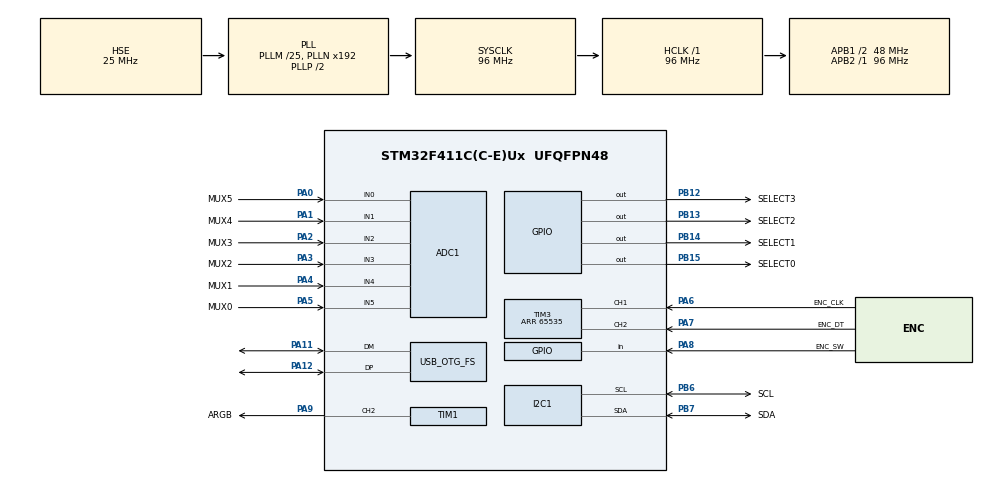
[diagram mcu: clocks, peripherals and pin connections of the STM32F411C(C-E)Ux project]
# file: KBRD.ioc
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ADC1.Channel-14\#ChannelRegularConversion=ADC_CHANNEL_0
ADC1.ContinuousConvMode=ENABLE
ADC1.EnableAnalogWatchDog=false
ADC1.InjNumberOfConversion=0
ADC1.NbrOfConversion=1
ADC1.NbrOfConversionFlag=1
ADC1.Rank-14\#ChannelRegularConversion=1
ADC1.SamplingTime-14\#ChannelRegularConversion=ADC_SAMPLETIME_3CYCLES
ADC1.ScanConvMode=ENABLE
ADC1.master=1
Dma.ADC1.1.Direction=DMA_PERIPH_TO_MEMORY
Dma.ADC1.1.FIFOMode=DMA_FIFOMODE_ENABLE
Dma.ADC1.1.FIFOThreshold=DMA_FIFO_THRESHOLD_FULL
Dma.ADC1.1.Instance=DMA2_Stream4
Dma.ADC1.1.MemBurst=DMA_MBURST_SINGLE
Dma.ADC1.1.MemDataAlignment=DMA_MDATAALIGN_HALFWORD
Dma.ADC1.1.MemInc=DMA_MINC_ENABLE
Dma.ADC1.1.Mode=DMA_CIRCULAR
Dma.ADC1.1.PeriphBurst=DMA_PBURST_SINGLE
Dma.ADC1.1.PeriphDataAlignment=DMA_PDATAALIGN_HALFWORD
Dma.ADC1.1.PeriphInc=DMA_PINC_DISABLE
Dma.ADC1.1.Priority=DMA_PRIORITY_LOW
Dma.I2C1_TX.0.Direction=DMA_MEMORY_TO_PERIPH
Dma.I2C1_TX.0.FIFOMode=DMA_FIFOMODE_DISABLE
Dma.I2C1_TX.0.Instance=DMA1_Stream6
Dma.I2C1_TX.0.MemDataAlignment=DMA_MDATAALIGN_BYTE
Dma.I2C1_TX.0.MemInc=DMA_MINC_ENABLE
Dma.I2C1_TX.0.Mode=DMA_NORMAL
Dma.I2C1_TX.0.PeriphDataAlignment=DMA_PDATAALIGN_BYTE
Dma.I2C1_TX.0.PeriphInc=DMA_PINC_DISABLE
Dma.I2C1_TX.0.Priority=DMA_PRIORITY_VERY_HIGH
Dma.Request0=I2C1_TX
Dma.Request1=ADC1
Dma.Request2=TIM1_CH2
Dma.TIM1_CH2.2.Direction=DMA_MEMORY_TO_PERIPH
Dma.TIM1_CH2.2.FIFOMode=DMA_FIFOMODE_DISABLE
Dma.TIM1_CH2.2.Instance=DMA2_Stream2
Dma.TIM1_CH2.2.MemDataAlignment=DMA_MDATAALIGN_WORD
Dma.TIM1_CH2.2.MemInc=DMA_MINC_ENABLE
Dma.TIM1_CH2.2.Mode=DMA_CIRCULAR
Dma.TIM1_CH2.2.PeriphDataAlignment=DMA_PDATAALIGN_WORD
Dma.TIM1_CH2.2.PeriphInc=DMA_PINC_DISABLE
Dma.TIM1_CH2.2.Priority=DMA_PRIORITY_VERY_HIGH
I2C1.I2C_Mode=I2C_Fast
Mcu.Family=STM32F4
Mcu.Name=STM32F411C(C-E)Ux
Mcu.Package=UFQFPN48
NVIC.DMA1_Stream6_IRQn=true\:0\:0\:false\:false\:true\:false\:true\:true
NVIC.DMA2_Stream2_IRQn=true\:0\:0\:false\:false\:true\:false\:true\:true
NVIC.DMA2_Stream4_IRQn=true\:0\:0\:false\:false\:true\:false\:true\:true
NVIC.I2C1_EV_IRQn=true\:0\:0\:false\:false\:true\:true\:true\:true
NVIC.OTG_FS_IRQn=true\:0\:0\:false\:false\:true\:false\:true\:true
NVIC.PriorityGroup=NVIC_PRIORITYGROUP_4
PA0-WKUP.GPIO_Label=MUX5
PA0-WKUP.Signal=ADCx_IN0
PA1.GPIO_Label=MUX4
PA1.Signal=ADCx_IN1
PA11.Mode=Device_Only
PA11.Signal=USB_OTG_FS_DM
PA12.Mode=Device_Only
PA12.Signal=USB_OTG_FS_DP
PA13.Mode=Serial_Wire
PA13.Signal=SYS_JTMS-SWDIO
PA14.Mode=Serial_Wire
PA14.Signal=SYS_JTCK-SWCLK
PA2.GPIO_Label=MUX3
PA2.Signal=ADCx_IN2
PA3.GPIO_Label=MUX2
PA3.Signal=ADCx_IN3
PA4.GPIO_Label=MUX1
PA4.Signal=ADCx_IN4
PA5.GPIO_Label=MUX0
PA5.Signal=ADCx_IN5
PA6.GPIO_Label=ENC_CLK
PA6.GPIO_ModeDefaultPP=GPIO_MODE_AF_OD
PA6.GPIO_PuPd=GPIO_NOPULL
PA6.GPIO_Speed=GPIO_SPEED_FREQ_VERY_HIGH
PA6.Signal=S_TIM3_CH1
PA7.GPIO_Label=ENC_DT
PA7.GPIO_ModeDefaultPP=GPIO_MODE_AF_OD
PA7.GPIO_PuPd=GPIO_NOPULL
PA7.GPIO_Speed=GPIO_SPEED_FREQ_VERY_HIGH
PA7.Signal=S_TIM3_CH2
PA8.GPIO_Label=ENC_SW
PA8.GPIO_PuPd=GPIO_PULLDOWN
PA8.Signal=GPIO_Input
PA9.GPIO_Label=ARGB
PA9.GPIO_ModeDefaultPP=GPIO_MODE_AF_OD
PA9.GPIO_Speed=GPIO_SPEED_FREQ_VERY_HIGH
PA9.Signal=S_TIM1_CH2
PB12.GPIO_Label=SELECT3
PB12.GPIO_ModeDefaultOutputPP=GPIO_MODE_OUTPUT_PP
PB12.GPIO_PuPd=GPIO_NOPULL
PB12.GPIO_Speed=GPIO_SPEED_FREQ_LOW
PB12.PinState=GPIO_PIN_RESET
PB12.Signal=GPIO_Output
PB13.GPIO_Label=SELECT2
PB13.GPIO_ModeDefaultOutputPP=GPIO_MODE_OUTPUT_PP
PB13.GPIO_PuPd=GPIO_NOPULL
PB13.GPIO_Speed=GPIO_SPEED_FREQ_LOW
PB13.PinState=GPIO_PIN_RESET
PB13.Signal=GPIO_Output
PB14.GPIO_Label=SELECT1
PB14.GPIO_ModeDefaultOutputPP=GPIO_MODE_OUTPUT_PP
PB14.GPIO_PuPd=GPIO_NOPULL
PB14.GPIO_Speed=GPIO_SPEED_FREQ_LOW
PB14.PinState=GPIO_PIN_RESET
PB14.Signal=GPIO_Output
PB15.GPIO_Label=SELECT0
PB15.GPIO_ModeDefaultOutputPP=GPIO_MODE_OUTPUT_PP
PB15.GPIO_PuPd=GPIO_NOPULL
PB15.GPIO_Speed=GPIO_SPEED_FREQ_LOW
PB15.PinState=GPIO_PIN_RESET
PB15.Signal=GPIO_Output
PB6.GPIO_Label=SCL
PB6.Mode=I2C
PB6.Signal=I2C1_SCL
PB7.GPIO_Label=SDA
PB7.Mode=I2C
PB7.Signal=I2C1_SDA
PH0\ -\ OSC_IN.Mode=HSE-External-Oscillator
PH0\ -\ OSC_IN.Signal=RCC_OSC_IN
PH1\ -\ OSC_OUT.Mode=HSE-External-Oscillator
PH1\ -\ OSC_OUT.Signal=RCC_OSC_OUT
ProjectManager.HeapSize=0x200
ProjectManager.StackSize=0x400
ProjectManager.TargetToolchain=STM32CubeIDE
RCC.48MHZClocksFreq_Value=48000000
RCC.AHBFreq_Value=96000000
RCC.APB1CLKDivider=RCC_HCLK_DIV2
RCC.APB1Freq_Value=48000000
RCC.APB1TimFreq_Value=96000000
RCC.APB2Freq_Value=96000000
RCC.APB2TimFreq_Value=96000000
RCC.CortexFreq_Value=96000000
RCC.HCLKFreq_Value=96000000
RCC.HSE_VALUE=25000000
RCC.HSI_VALUE=16000000
RCC.LSE_VALUE=32768
RCC.PLLM=25
RCC.SYSCLKFreq_VALUE=96000000
RCC.SYSCLKSource=RCC_SYSCLKSOURCE_PLLCLK
RCC.VCOOutputFreq_Value=192000000
SH.ADCx_IN0.0=ADC1_IN0,IN0
SH.ADCx_IN1.0=ADC1_IN1,IN1
SH.ADCx_IN2.0=ADC1_IN2,IN2
SH.ADCx_IN3.0=ADC1_IN3,IN3
SH.ADCx_IN4.0=ADC1_IN4,IN4
SH.ADCx_IN5.0=ADC1_IN5,IN5
SH.S_TIM1_CH2.0=TIM1_CH2,PWM Generation2 CH2
SH.S_TIM3_CH1.0=TIM3_CH1,Encoder_Interface
SH.S_TIM3_CH2.0=TIM3_CH2,Encoder_Interface
TIM1.Channel-PWM\ Generation2\ CH2=TIM_CHANNEL_2
TIM1.Period=90-1
TIM3.CounterMode=TIM_COUNTERMODE_UP
TIM3.EncoderMode=TIM_ENCODERMODE_TI12
TIM3.IC1Filter=5
TIM3.IC1Polarity=TIM_ICPOLARITY_FALLING
TIM3.IC2Filter=5
TIM3.IC2Polarity=TIM_ICPOLARITY_FALLING
TIM3.Period=65535
USB_DEVICE.CLASS_NAME_FS=HID
USB_DEVICE.VirtualMode=Hid
USB_DEVICE.VirtualModeFS=Hid_FS
USB_OTG_FS.VirtualMode=Device_Only
VP_TIM1_VS_ClockSourceINT.Mode=Internal
VP_USB_DEVICE_VS_USB_DEVICE_HID_FS.Mode=HID_FS
board=custom

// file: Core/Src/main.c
/* USER CODE BEGIN Header */
/**
  ******************************************************************************
  * @file           : main.c
  * @brief          : Main program body
  ******************************************************************************
  * @attention
  *
  * Copyright (c) 2024 Astrolate.
  * All rights reserved.
  *
  * Astrolate Starling Keyboard
  *
  * This software is "licensed" under CC BY-NC 4.0
  *
  ******************************************************************************
						⣿⣿⣿⣿⣿⣿⣿⣿⣿⣿⣿⣿⣿⣿⣿⣿⣿⣿⣿⣿⣿⣿⣿⣿⣿⣿⣿
						⣿⣿⣿⣿⠟⠛⠛⠻⣿⣿⣿⣿⣿⣿⣿⣿⣿⣿⡟⢋⣩⣉⢻⣿⣿⣿⣿
						⣿⣿⣿⣿⠀⣿⣶⣕⣈⠹⠿⠿⠿⠿⠟⠛⣛⢋⣰⠣⣿⣷⠀⣿⣿⣿⣿
						⣿⣿⣿⣿⡀⣿⣿⣿⣧⢻⣿⣶⣷⣿⣿⣿⣿⣿⣿⠿⠶ ⠀⣿⣿⣿⣿
						⣿⣿⣿⣿⣷⠘⣿⣿⣿⢸⣿⣿⣋⣀⣈⣻⣿⣿⣷⣤⣤⣿ ⢿⣿⣿⣿
						⣿⣿⣿⣿⣿⣆⢩⣰⣫⣾⣿⣿⣿⣿⡟⠿⠿⠦⠀⠸⠿⣻⣿⡄⢻⣿⣿
						⣿⣿⣿⣿⣿⣿⡄⢻⣿⣿⣿⣿⣿⣿⣿⣿⣶⣶⣾⣿⣿⣿⣿ ⣼⣿⣿
						⣿⣿⣿⣿⣿⣿⣿⡄⢿⣿⣿⣿⣿⣿⣿⣿⣿⣿⣿⣿⣿⣿⡟⣰⣿⣿⣿
						⣿⣿⣿⣿⣿⣿⣿⠇⣼⣿⣿⣿⣿⣿⣿⣿⣿⣿⣿⣿⣿⣿⢀⣿⣿⣿⣿
						⣿⣿⣿⣿⣿⣿⠋⢰⣿⣿⣿⣿⣿⣿⣿⣿⣿⣿⣿⣿⣿⣿⢸⣿⣿⣿⣿
						⣿⣿⣿⣿⣿⠟⣰⣿⣿⣿⣿⣿⣿⣿⣿⣿⣿⣿⣿⣿⣿⣿⠀⣿⣿⣿⣿
						⣿⣿⣿⣿⠋⣴⣿⣿⣿⣿⣿⣿⣿⣿⣿⣿⣿⣿⣿⣿⣿⣿⡄⣿⣿⣿⣿
						⣿⣿⣿⠋⣼⣿⣿⣿⣿⣿⣿⣿⣿⣿⣿⣿⣿⣿⣿⣿⣿⣿⡇⢸⣿⣿⣿
						⣿⣿ ⣼⣿⣿⣿⣿⣿⣿⣿⣿⣿⣿⣿⣿⣿⣿⣿⣿⣿⣿⣿⢸⣿⣿⣿
  ******************************************************************************
**/
/* USER CODE END Header */
#include "main.h"
#include "usb_device.h"

/* USER CODE BEGIN Includes */
#include "ssd1306.h"
#include "ARGB.h"
/* USER CODE END Includes */

/* USER CODE BEGIN PD */
//#define BitSet(byte,nbit)   ((byte) |=  (1<<(nbit)))
//#define BitClear(byte,nbit) ((byte) &= ~(1<<(nbit)))
/* USER CODE END PD */

ADC_HandleTypeDef hadc1;
DMA_HandleTypeDef hdma_adc1;

I2C_HandleTypeDef hi2c1;
DMA_HandleTypeDef hdma_i2c1_tx;

TIM_HandleTypeDef htim1;
TIM_HandleTypeDef htim3;
DMA_HandleTypeDef hdma_tim1_ch2;

/* USER CODE BEGIN PV */
extern USBD_HandleTypeDef hUsbDeviceFS;
/* USER CODE END PV */

void SystemClock_Config(void);
static void MX_GPIO_Init(void);
static void MX_DMA_Init(void);
static void MX_ADC1_Init(void);
static void MX_I2C1_Init(void);
static void MX_TIM1_Init(void);
static void MX_TIM3_Init(void);

/* USER CODE BEGIN 0 */
const uint8_t StartLogo[] = {								// Start-up bitmap logo
	0x00, 0x00, 0x00, 0x00, 0x00, 0x00, 0x00, 0x00, 0x00, 0x00, 0x00, 0x00, 0x00, 0x00, 0x00, 0x00,
	0x00, 0x00, 0x60, 0x00, 0x00, 0x00, 0x00, 0x00, 0x00, 0x00, 0x00, 0x00, 0x00, 0x00, 0x00, 0x00,
	0x00, 0x00, 0x60, 0x00, 0x00, 0x00, 0x00, 0x00, 0x00, 0x00, 0x00, 0x00, 0x00, 0x00, 0x00, 0x00,
	0x00, 0x00, 0xD0, 0x00, 0x00, 0x00, 0x00, 0x00, 0x00, 0x00, 0x00, 0x00, 0x00, 0x00, 0x00, 0x00,
	0x00, 0x00, 0xD8, 0x00, 0x00, 0x00, 0x00, 0x00, 0x00, 0x00, 0x00, 0x00, 0x00, 0x00, 0x00, 0x00,
	0x00, 0x01, 0x49, 0x00, 0x00, 0x00, 0x00, 0x00, 0x00, 0x00, 0x00, 0x00, 0x00, 0x00, 0x00, 0x00,
	0x00, 0x01, 0x4F, 0x80, 0x00, 0x00, 0x00, 0x00, 0x00, 0x00, 0x00, 0x00, 0x00, 0x00, 0x00, 0x00,
	0x03, 0xFE, 0x47, 0x80, 0x00, 0x00, 0x00, 0x00, 0x00, 0x00, 0x00, 0x00, 0x00, 0x00, 0x00, 0x00,
	0x01, 0xC4, 0x07, 0xC0, 0x00, 0x00, 0x00, 0x00, 0x00, 0x00, 0x00, 0x00, 0x00, 0x00, 0x00, 0x00,
	0x01, 0x1C, 0x83, 0x7F, 0xC0, 0x00, 0x00, 0x00, 0x00, 0x00, 0x00, 0x00, 0x00, 0x00, 0x00, 0x00,
	0x00, 0x1E, 0x8F, 0xC1, 0x80, 0x00, 0x00, 0x00, 0x00, 0x00, 0x00, 0x00, 0x00, 0x00, 0x00, 0x00,
	0x00, 0xEF, 0xE3, 0x03, 0x80, 0x00, 0x40, 0x00, 0x08, 0x00, 0x00, 0x30, 0x00, 0x30, 0x00, 0x00,
	0x03, 0xE0, 0xBA, 0x87, 0x00, 0x00, 0xE0, 0x00, 0x08, 0x00, 0x00, 0x30, 0x00, 0x30, 0x00, 0x00,
	0x03, 0x80, 0x86, 0x8A, 0x00, 0x01, 0xB0, 0x00, 0x1E, 0x18, 0xFE, 0x30, 0x3E, 0x7C, 0x7E, 0x00,
	0x01, 0x60, 0x0F, 0xD4, 0x00, 0x01, 0x10, 0x7C, 0x1E, 0x39, 0xFF, 0x30, 0x03, 0x7D, 0xFF, 0x80,
	0x00, 0x99, 0x32, 0xE4, 0x00, 0x02, 0x08, 0x40, 0x08, 0x63, 0x83, 0xB3, 0xFF, 0x31, 0x01, 0x80,
	0x00, 0xC7, 0xC0, 0x7C, 0x00, 0x06, 0x0C, 0x7F, 0x88, 0x63, 0x01, 0xB7, 0xFF, 0x31, 0xFF, 0x80,
	0x00, 0xE3, 0x84, 0xBC, 0x00, 0x07, 0xFC, 0x1F, 0xC8, 0x63, 0x01, 0xB6, 0x03, 0x31, 0xFF, 0x80,
	0x01, 0x2D, 0x65, 0x16, 0x00, 0x0C, 0x06, 0x00, 0x48, 0x63, 0x83, 0xB6, 0x03, 0x31, 0x00, 0x00,
	0x02, 0x31, 0x1E, 0x0B, 0x00, 0x18, 0x03, 0x7F, 0xC8, 0x61, 0xFF, 0x37, 0xFF, 0x31, 0xF0, 0x00,
	0x02, 0x41, 0x0E, 0x0E, 0x00, 0x10, 0x01, 0x7F, 0x08, 0x60, 0xFE, 0x33, 0xFE, 0x30, 0xF0, 0x00,
	0x05, 0x08, 0x1D, 0x84, 0x00, 0x00, 0x00, 0x00, 0x00, 0x00, 0x00, 0x00, 0x00, 0x00, 0x00, 0x00,
	0x0E, 0x0A, 0x34, 0x64, 0x00, 0x00, 0x00, 0x00, 0x00, 0x00, 0x00, 0x00, 0x00, 0x00, 0x00, 0x00,
	0x07, 0xFA, 0x40, 0x1E, 0x00, 0x00, 0x00, 0x00, 0x00, 0x00, 0x00, 0x00, 0x00, 0x00, 0x00, 0x00,
	0x00, 0x06, 0x9F, 0xFE, 0x00, 0x00, 0x00, 0x00, 0x00, 0x00, 0x00, 0x00, 0x00, 0x00, 0x00, 0x00,
	0x00, 0x07, 0xE9, 0x00, 0x00, 0x00, 0x00, 0x00, 0x00, 0x00, 0x00, 0x00, 0x00, 0x00, 0x00, 0x00,
	0x00, 0x03, 0x8A, 0x00, 0x00, 0x00, 0x00, 0x00, 0x00, 0x00, 0x00, 0x00, 0x00, 0x00, 0x00, 0x00,
	0x00, 0x00, 0x4C, 0x00, 0x00, 0x00, 0x00, 0x00, 0x00, 0x00, 0x00, 0x00, 0x00, 0x00, 0x00, 0x00,
	0x00, 0x00, 0x2C, 0x00, 0x00, 0x00, 0x00, 0x00, 0x00, 0x00, 0x00, 0x00, 0x00, 0x00, 0x00, 0x00,
	0x00, 0x00, 0x18, 0x00, 0x00, 0x00, 0x00, 0x00, 0x00, 0x00, 0x00, 0x00, 0x00, 0x00, 0x00, 0x00,
	0x00, 0x00, 0x10, 0x00, 0x00, 0x00, 0x00, 0x00, 0x00, 0x00, 0x00, 0x00, 0x00, 0x00, 0x00, 0x00,
	0x00, 0x00, 0x00, 0x00, 0x00, 0x00, 0x00, 0x00, 0x00, 0x00, 0x00, 0x00, 0x00, 0x00, 0x00, 0x00,
};

uint8_t EncRotRig, EncRotLft, FnBtnState;					// Encoder processing values
uint8_t keycodes[10] = {};									// Array for key press report
uint8_t MediaReport[2] = {};								// Array for media report
uint8_t DisplayText[8];										// Display value
uint8_t Red, Green, Blue, LedBrightness, ArgbMode, SwitchMode;
// Menu support values
uint8_t MenuOpenFlag, MenuDeniedFlag, RedMenu, GreenMenu, BlueMenu, BrMenu, SubMenu, SubMenuDeniedFlag;
int8_t MenuEncCounter, SubMenuEncCounter;

const uint8_t HEX_Map[97] =									// Array of keys according to schematic
{
//MUX0
	0x29,	// ESC
	0x3A,	// F1
	0x3B,	// F2
	0x3C,	// F3
	0x3D,	// F4
	0x3E,	// F5
	0x3F,	// F6
	0x40,	// F7
	0x41,	// F8
	0x42,	// F9
	0x43,	// F10
	0x44, 	// F11
	0x45,	// F12
	0x46,	// PrtScr
	0x4C,	// Del
	0x55,	// Keypad *
//MUX1
	0x35,	// ~
    0x1E,   // 1
    0x1F,   // 2
    0x20,   // 3
    0x21,   // 4
    0x22,   // 5
    0x23,   // 6
    0x24,   // 7
    0x25,   // 8
    0x26,   // 9
    0x27,   // 0
	0x2D,	// - and _
	0x2E,	// = and +
    0x2A,   // Backspace
	0x53,	// Num Lock
	0x54,	// Keypad /
//MUX2
    0x2B,   // Tab
	0x14,   // Q
	0x1A,   // W
	0x08,   // E
	0x15,   // R
	0x17,   // T
	0x1C,   // Y
	0x18,   // U
	0x0C,   // I
    0x12,   // O
    0x13,   // P
	0x2F,	// [ and {
	0x30,	// ] and }
	0x31,   // \ and |
	0x5F,	// Keypad 7
	0x60,	// Keypad 8
//MUX3
	0x39,	// Caps Lock
    0x04,   // A
    0x16,   // S
    0x07,   // D
    0x09,   // F
    0x0A,   // G
    0x0B,   // H
    0x0D,   // J
    0x0E,   // K
    0x0F,   // L
	0x33, 	// ; and :
	0x34,	// ' and "
    0x28,   // Enter
	0x5C,	// Keypad 4
	0x5D,	// Keypad 5
	0x5E,	// Keypad 6
//MUX4
	0x02,	// Left Shift
    0x1D,   // Z
    0x1B,   // X
    0x06,   // C
    0x19,   // V
    0x05,   // B
    0x11,   // N
    0x10,   // M
	0x36,	// , and <
	0x37,	// . and >
	0x38,	// / and ?
	0x20,	// Right Shift
	0x52,	// Arrow Up
	0x59,	// Keypad 1
	0x5A,	// Keypad 2
	0x5B,	// Keypad 3
//MUX5
	0x01,	// Left Ctrl
	0x08,	// Left Win(Super)
	0x04,	// Left Alt
	0x2C,	// Spacebar
	0x40,	// Right Alt
	0x00,	// Fn - Undefined(Released)
	0x10,	// Right Ctrl
	0x50,	// Arrow Left
	0x51,	// Arrow Down
	0x4F,	// Arrow Right
	0x62,	// Keypad 0
	0x63,	// Keypad Del
	0x58,	// Keypad Enter
	0x61,	// Keypad 9
	0x57,	// Keypad +
	0x56	// Keypad -
};

/*
 * Lock keys indication pre-init
*/
volatile struct HID_Leds_t HID_Leds;

#define L_NUMLOCK          0
#define L_CAPSLOCK         1
#define L_SCROLLLOCK       2

struct HID_Leds_t {
uint8_t NUMLOCK;
uint8_t CAPSLOCK;
uint8_t SCROLLLOCK;
};

void HID_LedsInit(void){
	HID_Leds.NUMLOCK = 0;
	HID_Leds.CAPSLOCK = 0;
	HID_Leds.SCROLLLOCK = 0;
}

/*
 * Simple FLASH read
*/
uint8_t READ_FLASH(uint32_t address) {
    return (*(__IO uint8_t*)address);
}

/*
 * FLASH memory write func for 1 sector
*/
void WRITE_FLASH(uint32_t address, uint8_t data) {

    uint8_t OldData[20];
    for (uint32_t addr = 0x0807FFF0, i = 0; addr <= 0x0807FFFF; addr++, i++) {
    	OldData[i] = READ_FLASH(addr);
	}

	HAL_FLASH_Unlock();                                                             		// Unlock Flash

    FLASH_EraseInitTypeDef eraseInitStruct;
    eraseInitStruct.TypeErase = FLASH_TYPEERASE_SECTORS;
    eraseInitStruct.VoltageRange = FLASH_VOLTAGE_RANGE_3;
    eraseInitStruct.Sector = FLASH_SECTOR_7;
    eraseInitStruct.NbSectors = 1;

    if (HAL_FLASHEx_Erase(&eraseInitStruct, 0) != HAL_OK) {
    	//HAL_FLASH_Lock();
        Error_Handler();
        //return;
    }

    for (uint32_t addr = 0x0807FFF0, i = 0; addr <= 0x0807FFFF; addr++, i++) {
    	if (addr == address){
            if (HAL_FLASH_Program(FLASH_TYPEPROGRAM_WORD, addr, data) != HAL_OK) {
                Error_Handler();
            }
    	}
    	if (HAL_FLASH_Program(FLASH_TYPEPROGRAM_WORD, addr, OldData[i]) != HAL_OK) {
        	//HAL_FLASH_Lock();
            Error_Handler();
            //return;
        }
	}
    HAL_FLASH_Lock();

/*
    HAL_FLASH_Unlock();																// Unlock Flash

    FLASH_EraseInitTypeDef eraseInitStruct;
    eraseInitStruct.TypeErase = FLASH_TYPEERASE_SECTORS;
    eraseInitStruct.VoltageRange = FLASH_VOLTAGE_RANGE_3;
    eraseInitStruct.Sector = FLASH_SECTOR_7; 									    // Get sector via address
    eraseInitStruct.NbSectors = 1; 													// 1 its enough for projects needs

    uint32_t sectorError = 0;
    if (HAL_FLASHEx_Erase(&eraseInitStruct, &sectorError) != HAL_OK) {				// Delete sector where address located(No sense here)
    	Error_Handler();
    }

    if (HAL_FLASH_Program(FLASH_TYPEPROGRAM_BYTE, address, data) != HAL_OK) {		// Write new value in FLASH cell
    	Error_Handler();
    }
    HAL_FLASH_Lock();																// Lock FLASH for sure
*/
}

/*
 * Selecting input pin of MUX output for ADC processing
*/
void ADC_SELECTOR(uint8_t Channel){
	ADC_ChannelConfTypeDef cConfig = {0};
	cConfig.Channel = Channel;
	cConfig.Rank = 1;
	cConfig.SamplingTime = ADC_SAMPLETIME_3CYCLES;
	if (HAL_ADC_ConfigChannel(&hadc1, &cConfig) != HAL_OK)
	{
		Error_Handler();
	}
}

/*
 * Receiving ADC values
*/
uint32_t ADC_GET_VALUE(void){
	HAL_ADC_Start(&hadc1);
	HAL_ADC_PollForConversion(&hadc1, 1);
	return HAL_ADC_GetValue(&hadc1);
	HAL_ADC_Stop(&hadc1);
}

/*
 * Selecting 0-15 channel of MUX
*/
void SELECT_MUX_CH(uint8_t MUX_CH) {
	HAL_GPIO_WritePin(GPIOB, SELECT0_Pin, (GPIO_PinState)((MUX_CH >> 0) & 0x01));
	HAL_GPIO_WritePin(GPIOB, SELECT1_Pin, (GPIO_PinState)((MUX_CH >> 1) & 0x01));
	HAL_GPIO_WritePin(GPIOB, SELECT2_Pin, (GPIO_PinState)((MUX_CH >> 2) & 0x01));
	HAL_GPIO_WritePin(GPIOB, SELECT3_Pin, (GPIO_PinState)((MUX_CH >> 3) & 0x01));
}

/*
 * Simultaneously keys press processing
 *
 * 0-ID;
 * 1-MODIFIER;
 * 2-RESERVED;
 * 3-8KEYCODE[6]
*/
void KEY_PRESS(uint32_t ADC_Value, uint8_t Key_Identifier, uint8_t IsMod, uint8_t SwMod){
	/*
	 * In progress
	*/
/*
    uint32_t AdcPrev;
    uint16_t adcThreshold = 500;
	if (SwMod == 0) {																	// Rapid trigger

		if (ADC_Value > AdcPrev + adcThreshold) {
			keycodes[0] = 0x01;
			if (IsMod) {
				keycodes[1] ^= Key_Identifier;
			} else {
				for (uint8_t ByteCounter = 3; ByteCounter <= 9; ByteCounter++) {
					if (keycodes[ByteCounter] == 0) {
						keycodes[ByteCounter] = Key_Identifier;
						break;
					}
				}
			}
		}

		else if (ADC_Value < AdcPrev + adcThreshold) {
			for (uint8_t ByteCounter = 1; ByteCounter <= 9; ByteCounter++) {
				if (keycodes[ByteCounter] != 0){
					keycodes[ByteCounter] = 0x00;										// Clear every byte
				}
			}
		}

	}
	else{*/
		//if (ADC_Value <= 1200 || ADC_Value >= 4000) {									// If switch have different magnet polarity also led power changes less dependent
		if (ADC_Value >= 3500){
			keycodes[0] = 0x01;															// ID(1)
			if(IsMod) {																	// If pressed modifier keys
				keycodes[1] ^= Key_Identifier;											// Accumulating Modifiers values in bits for first byte
			}
			else{
				for (uint8_t ByteCounter = 3; ByteCounter <= 9; ByteCounter++) {		// (MAX pressed keys == not enough)
					if (keycodes[ByteCounter] == 0) {
						keycodes[ByteCounter] = Key_Identifier;
						break;
					}
				}
			}
		}
	//}
	//AdcPrev = ADC_Value;
}

/* USER CODE END 0 */

int main(void)
{

  /* MCU Configuration--------------------------------------------------------*/

  /* Reset of all peripherals, Initializes the Flash interface and the Systick. */
  HAL_Init();

  /* Configure the system clock */
  SystemClock_Config();

  /* Initialize all configured peripherals */
  MX_GPIO_Init();
  MX_DMA_Init();
  MX_ADC1_Init();
  MX_I2C1_Init();
  MX_TIM1_Init();
  MX_USB_DEVICE_Init();
  MX_TIM3_Init();
  /* USER CODE BEGIN 2 */
  SSD1306_Init();														// OLED 128*32
  ARGB_Init();															// SK6812
  HAL_TIM_Encoder_Start(&htim3, TIM_CHANNEL_ALL);						// Encoder mode start
  /* USER CODE END 2 */

  /* Infinite loop */
  /* USER CODE BEGIN WHILE */
  //Menu_SetGenericWriteCallback(Generic_Write);
/*
* Starting Up Logo Astrolate
*/
  SSD1306_DrawBitmap(0, 0, StartLogo, 128, 32, SSD1306_COLOR_WHITE);	// Display logo
  SSD1306_UpdateScreen();												// Show image
  HAL_Delay(1000);														// Wait
  SSD1306_Fill(SSD1306_COLOR_BLACK);									// Clear for next info

  ARGB_Clear();															// Pre clearing of ARGB

/*
 * Read data from previous set-up
*/
  Red = READ_FLASH(0x0807FFF0);
  Green = READ_FLASH(0x0807FFF1);
  Blue = READ_FLASH(0x0807FFF2);
  LedBrightness = READ_FLASH(0x0807FFF3);
  ArgbMode = READ_FLASH(0x0807FFF4);
  SwitchMode = READ_FLASH(0x0807FFF5);

  uint16_t PositionLast = (int16_t)__HAL_TIM_GET_COUNTER(&htim3) / 4;
  while (1)
  {
/*
* Encoder Handler Section
*/
	uint32_t Counter = __HAL_TIM_GET_COUNTER(&htim3);
	uint16_t Position = (int16_t)Counter / 4;
	if(Position == PositionLast){										// No change, (reset & screensaver)
		EncRotRig = 0;
		EncRotLft = 0;
	}
	if(Position > PositionLast){										// Counter has increased, diff is positive
		EncRotRig = 1;
	}
	if(PositionLast > Position){										// Counter has decreased, diff is negative
		EncRotLft = 1;
	}
	// Exceptions for logic issue
	if (Position == 0 && PositionLast == 65535) {
		EncRotRig = 1;
		EncRotLft = 0;
	}
	if (PositionLast == 0 && Position == 65535) {
		EncRotRig = 0;
		EncRotLft = 1;
	}
	PositionLast = Position;
/*
* MUXs-ADC Section
*/
	for(uint8_t MUX = 0; MUX < 6; MUX++){																			// Selecting MUX
	  switch(MUX){
		  case(0):																									// MUX_0
			  ADC_SELECTOR(5);
			  for(uint8_t MuxChannel = 0; MuxChannel <16; MuxChannel++){
				  SELECT_MUX_CH(MuxChannel);
				  KEY_PRESS(ADC_GET_VALUE(), HEX_Map[MuxChannel], 0, SwitchMode);
			  }
		  break;
		  case(1):																									// MUX_1
			  ADC_SELECTOR(4);
			  for(uint8_t MuxChannel = 0; MuxChannel <16; MuxChannel++){
				  SELECT_MUX_CH(MuxChannel);
				  KEY_PRESS(ADC_GET_VALUE(), HEX_Map[16 + MuxChannel], 0, SwitchMode);
			  }
		  break;
		  case(2):																									// MUX_2
			  ADC_SELECTOR(3);
			  for(uint8_t MuxChannel = 0; MuxChannel <16; MuxChannel++){
				  SELECT_MUX_CH(MuxChannel);
				  KEY_PRESS(ADC_GET_VALUE(), HEX_Map[32 + MuxChannel], 0, SwitchMode);
			  }
		  break;
		  case(3):																									// MUX_3
			  ADC_SELECTOR(2);
			  for(uint8_t MuxChannel = 0; MuxChannel <16; MuxChannel++){
				  SELECT_MUX_CH(MuxChannel);
				  KEY_PRESS(ADC_GET_VALUE(), HEX_Map[48 + MuxChannel], 0, SwitchMode);
			  }
		  break;
		  case(4):																									// MUX_4
			  ADC_SELECTOR(1);
			  for(uint8_t MuxChannel = 0; MuxChannel <16; MuxChannel++){
				  SELECT_MUX_CH(MuxChannel);
				  if(MuxChannel == 0) KEY_PRESS(ADC_GET_VALUE(), HEX_Map[64 + MuxChannel], 1, SwitchMode);			// Exception for Left Shift
				  else if(MuxChannel == 11) KEY_PRESS(ADC_GET_VALUE(), HEX_Map[64 + MuxChannel], 1, SwitchMode);	// Exception for Right Shift
				  else KEY_PRESS(ADC_GET_VALUE(), HEX_Map[64 + MuxChannel], 0, SwitchMode);
			  }
		  break;
		  case(5):																									// MUX_5
			  ADC_SELECTOR(0);
			  for(uint8_t MuxChannel = 0; MuxChannel <16; MuxChannel++){
				  SELECT_MUX_CH(MuxChannel);
				  if(MuxChannel == 0) KEY_PRESS(ADC_GET_VALUE(), HEX_Map[80 + MuxChannel], 1, SwitchMode);			// Exception for Left Ctrl
				  else if(MuxChannel == 1) KEY_PRESS(ADC_GET_VALUE(), HEX_Map[80 + MuxChannel], 1, SwitchMode);		// Exception for Left Win
				  else if(MuxChannel == 2) KEY_PRESS(ADC_GET_VALUE(), HEX_Map[80 + MuxChannel], 1, SwitchMode);		// Exception for Left Alt
				  else if(MuxChannel == 4) KEY_PRESS(ADC_GET_VALUE(), HEX_Map[80 + MuxChannel], 1, SwitchMode);		// Exception for Right Alt
				  else if(MuxChannel == 5){
					  if(ADC_GET_VALUE() >= 3500) FnBtnState = 1;													// Fn key press
					  /*SSD1306_GotoXY(0, 10);
					  sprintf(DisplayText, "%d", ADC_GET_VALUE());													// temporary info
					  SSD1306_Puts(DisplayText, &Font_7x10, SSD1306_COLOR_WHITE);*/
				  }
				  else if(MuxChannel == 6) KEY_PRESS(ADC_GET_VALUE(), HEX_Map[80 + MuxChannel], 1, SwitchMode);		// Exception for Right Ctrl
				  else KEY_PRESS(ADC_GET_VALUE(), HEX_Map[80 + MuxChannel], 0, SwitchMode);
			  }
		  break;
	  }
	}
/*
 * Send Key Report
*/
	USBD_HID_SendReport(&hUsbDeviceFS, &keycodes, 9);							// Send keys report
	//if (SwitchMode == 1) {
		for (uint8_t ByteCounter = 1; ByteCounter <= 9; ByteCounter++) {
			if (keycodes[ByteCounter] != 0){
				keycodes[ByteCounter] = 0x00;										// Clear every byte
			}
		}
	//}
	//else if(SwitchMode == 0){}

/*
 * Main Menu
*/
	if(HAL_GPIO_ReadPin(GPIOA, GPIO_PIN_8) == GPIO_PIN_RESET && MenuOpenFlag == 0){
		while(HAL_GPIO_ReadPin(GPIOA, GPIO_PIN_8) == GPIO_PIN_RESET);
		MenuOpenFlag = 1;
	}
	if(MenuOpenFlag){
		SSD1306_GotoXY(0, 0);
		SSD1306_Puts("SETTINGS:", &Font_7x10, SSD1306_COLOR_WHITE);

		SSD1306_GotoXY(90, 0);
		SSD1306_Puts("EXIT", &Font_7x10, SSD1306_COLOR_WHITE);
		//---------------------
		SSD1306_GotoXY(0, 10);
		SSD1306_Puts("ARGB:", &Font_7x10, SSD1306_COLOR_WHITE);

		SSD1306_GotoXY(45, 10);
		SSD1306_Puts("Solid", &Font_7x10, SSD1306_COLOR_WHITE);
		SSD1306_GotoXY(90, 10);
		SSD1306_Puts("Efct", &Font_7x10, SSD1306_COLOR_WHITE);
		//---------------------
		SSD1306_GotoXY(0, 20);
		SSD1306_Puts("Btns:", &Font_7x10, SSD1306_COLOR_WHITE);

		SSD1306_GotoXY(45, 20);
		SSD1306_Puts("Norm", &Font_7x10, SSD1306_COLOR_WHITE);

		SSD1306_GotoXY(90, 20);
		SSD1306_Puts("Rapid", &Font_7x10, SSD1306_COLOR_WHITE);
		//---------------------
		SSD1306_DrawLine(0, 9, 128, 9, SSD1306_COLOR_WHITE);
		SSD1306_DrawLine(0, 19, 128, 19, SSD1306_COLOR_WHITE);
		SSD1306_DrawLine(85, 0, 85, 32, SSD1306_COLOR_WHITE);
		SSD1306_DrawLine(40, 9, 40, 32, SSD1306_COLOR_WHITE);

		if(!MenuDeniedFlag){
			if(EncRotRig == 1)MenuEncCounter++;
			if(EncRotLft == 1)MenuEncCounter--;
			if(MenuEncCounter > 4)MenuEncCounter = 0;
			if(MenuEncCounter < 0)MenuEncCounter = 4;
		}
		switch(MenuEncCounter){
		  case(0):
			SSD1306_GotoXY(90, 0);
			SSD1306_Puts("EXIT", &Font_7x10, SSD1306_COLOR_BLACK);

			if(HAL_GPIO_ReadPin(GPIOA, GPIO_PIN_8) == GPIO_PIN_RESET && MenuOpenFlag == 1){
				while(HAL_GPIO_ReadPin(GPIOA, GPIO_PIN_8) == GPIO_PIN_RESET);
				MenuOpenFlag = !MenuOpenFlag;
			}
		  break;
		  case(1):
			SSD1306_GotoXY(45, 10);
			SSD1306_Puts("Solid", &Font_7x10, SSD1306_COLOR_BLACK);

			if(HAL_GPIO_ReadPin(GPIOA, GPIO_PIN_8) == GPIO_PIN_RESET && SubMenu == 0){
				while(HAL_GPIO_ReadPin(GPIOA, GPIO_PIN_8) == GPIO_PIN_RESET);
				SubMenu = 1;
			}
			if(SubMenu){
				MenuDeniedFlag = 1;
				SSD1306_Fill(SSD1306_COLOR_BLACK);

			    SSD1306_GotoXY(8, 0);
				SSD1306_Puts("R", &Font_7x10, SSD1306_COLOR_WHITE);
				sprintf(DisplayText, "%d", Red);
				SSD1306_GotoXY(0, 10);
				SSD1306_Puts(DisplayText, &Font_7x10, SSD1306_COLOR_WHITE);

				SSD1306_GotoXY(32, 0);
				SSD1306_Puts("G", &Font_7x10, SSD1306_COLOR_WHITE);
				sprintf(DisplayText, "%d", Green);
				SSD1306_GotoXY(25, 10);
				SSD1306_Puts(DisplayText, &Font_7x10, SSD1306_COLOR_WHITE);

				SSD1306_GotoXY(64, 0);
				SSD1306_Puts("B", &Font_7x10, SSD1306_COLOR_WHITE);
				sprintf(DisplayText, "%d", Blue);
				SSD1306_GotoXY(56, 10);
				SSD1306_Puts(DisplayText, &Font_7x10, SSD1306_COLOR_WHITE);

				SSD1306_GotoXY(96, 0);
				SSD1306_Puts("BR", &Font_7x10, SSD1306_COLOR_WHITE);
				sprintf(DisplayText, "%d", LedBrightness);
				SSD1306_GotoXY(92, 10);
				SSD1306_Puts(DisplayText, &Font_7x10, SSD1306_COLOR_WHITE);

				SSD1306_GotoXY(90, 20);
				SSD1306_Puts("BACK", &Font_7x10, SSD1306_COLOR_WHITE);
				//---------------------
				SSD1306_DrawLine(0, 9, 128, 9, SSD1306_COLOR_WHITE);
				SSD1306_DrawLine(22, 0, 22, 20, SSD1306_COLOR_WHITE);
				SSD1306_DrawLine(50, 0, 50, 20, SSD1306_COLOR_WHITE);
				SSD1306_DrawLine(85, 0, 85, 20, SSD1306_COLOR_WHITE);

				if(!SubMenuDeniedFlag){
					if(EncRotRig == 1)SubMenuEncCounter++;
					if(EncRotLft == 1)SubMenuEncCounter--;
					if(SubMenuEncCounter > 4)SubMenuEncCounter = 0;
					if(SubMenuEncCounter < 0)SubMenuEncCounter = 4;
				}
				switch(SubMenuEncCounter){
				  case(0):
					sprintf(DisplayText, "%d", Red);
					SSD1306_GotoXY(0, 10);
					SSD1306_Puts(DisplayText, &Font_7x10, SSD1306_COLOR_BLACK);

					if(HAL_GPIO_ReadPin(GPIOA, GPIO_PIN_8) == GPIO_PIN_RESET && RedMenu == 0){
					while(HAL_GPIO_ReadPin(GPIOA, GPIO_PIN_8) == GPIO_PIN_RESET);
						RedMenu = 1;
					}
					if(RedMenu){
						SubMenuDeniedFlag = 1;
						if(EncRotRig == 1)Red++;
						if(EncRotLft == 1)Red--;
						if(HAL_GPIO_ReadPin(GPIOA, GPIO_PIN_8) == GPIO_PIN_RESET && RedMenu == 1){
							while(HAL_GPIO_ReadPin(GPIOA, GPIO_PIN_8) == GPIO_PIN_RESET);
							WRITE_FLASH(0x0807FFF0, Red);
							RedMenu = 0;
							SubMenuDeniedFlag = 0;
						}
					}
				  break;
				  case(1):
						sprintf(DisplayText, "%d", Green);
						SSD1306_GotoXY(25, 10);
						SSD1306_Puts(DisplayText, &Font_7x10, SSD1306_COLOR_BLACK);

					  //uint8_t GreenMenu = 0;
					  if(HAL_GPIO_ReadPin(GPIOA, GPIO_PIN_8) == GPIO_PIN_RESET && GreenMenu == 0){
						while(HAL_GPIO_ReadPin(GPIOA, GPIO_PIN_8) == GPIO_PIN_RESET);
						GreenMenu = 1;
					  }
					  if(GreenMenu){
						SubMenuDeniedFlag = 1;
						if(EncRotRig == 1)Green++;
						if(EncRotLft == 1)Green--;
						if(HAL_GPIO_ReadPin(GPIOA, GPIO_PIN_8) == GPIO_PIN_RESET && GreenMenu == 1){
						  while(HAL_GPIO_ReadPin(GPIOA, GPIO_PIN_8) == GPIO_PIN_RESET);
						  WRITE_FLASH(0x0807FFF1, Green);
						  GreenMenu = 0;
						  SubMenuDeniedFlag = 0;
						}
					  }

				  break;
				  case(2):
						sprintf(DisplayText, "%d", Blue);
						SSD1306_GotoXY(56, 10);
						SSD1306_Puts(DisplayText, &Font_7x10, SSD1306_COLOR_BLACK);

					  if(HAL_GPIO_ReadPin(GPIOA, GPIO_PIN_8) == GPIO_PIN_RESET && BlueMenu == 0){
						while(HAL_GPIO_ReadPin(GPIOA, GPIO_PIN_8) == GPIO_PIN_RESET);
						BlueMenu = 1;
					  }
					  if(BlueMenu){
						SubMenuDeniedFlag = 1;
						if(EncRotRig == 1)Blue++;
						if(EncRotLft == 1)Blue--;
						if(HAL_GPIO_ReadPin(GPIOA, GPIO_PIN_8) == GPIO_PIN_RESET && BlueMenu == 1){
						  while(HAL_GPIO_ReadPin(GPIOA, GPIO_PIN_8) == GPIO_PIN_RESET);
						  WRITE_FLASH(0x0807FFF2, Blue);
						  BlueMenu = 0;
						  SubMenuDeniedFlag = 0;
						}
					  }

				  break;
				  case(3):
						sprintf(DisplayText, "%d", LedBrightness);
						SSD1306_GotoXY(92, 10);
						SSD1306_Puts(DisplayText, &Font_7x10, SSD1306_COLOR_BLACK);

					  if(HAL_GPIO_ReadPin(GPIOA, GPIO_PIN_8) == GPIO_PIN_RESET && BrMenu == 0){
						while(HAL_GPIO_ReadPin(GPIOA, GPIO_PIN_8) == GPIO_PIN_RESET);
						BrMenu = 1;
					  }
					  if(BrMenu){
						SubMenuDeniedFlag = 1;
						if(EncRotRig == 1)LedBrightness++;
						if(EncRotLft == 1)LedBrightness--;
						if(HAL_GPIO_ReadPin(GPIOA, GPIO_PIN_8) == GPIO_PIN_RESET && BrMenu == 1){
						  while(HAL_GPIO_ReadPin(GPIOA, GPIO_PIN_8) == GPIO_PIN_RESET);
						  WRITE_FLASH(0x0807FFF3, LedBrightness);
						  BrMenu = 0;
						  SubMenuDeniedFlag = 0;
						}
					  }
				  break;
				  case(4):
						SSD1306_GotoXY(90, 20);
						SSD1306_Puts("BACK", &Font_7x10, SSD1306_COLOR_BLACK);
						if(HAL_GPIO_ReadPin(GPIOA, GPIO_PIN_8) == GPIO_PIN_RESET && SubMenu == 1){
							while(HAL_GPIO_ReadPin(GPIOA, GPIO_PIN_8) == GPIO_PIN_RESET);
							ArgbMode = 1;
							WRITE_FLASH(0x0807FFF4, ArgbMode);
							SubMenu = !SubMenu;
							MenuDeniedFlag = 0;
						}
				  break;
				}
			}
		  break;
		  case(2):
			SSD1306_GotoXY(90, 10);
			SSD1306_Puts("Efct", &Font_7x10, SSD1306_COLOR_BLACK);
			if(HAL_GPIO_ReadPin(GPIOA, GPIO_PIN_8) == GPIO_PIN_RESET){
				while(HAL_GPIO_ReadPin(GPIOA, GPIO_PIN_8) == GPIO_PIN_RESET);
				ArgbMode = 0;
				WRITE_FLASH(0x0807FFF4, ArgbMode);
			}
		  break;
		  case(3):
			SSD1306_GotoXY(45, 20);
			SSD1306_Puts("Norm", &Font_7x10, SSD1306_COLOR_BLACK);
			if(HAL_GPIO_ReadPin(GPIOA, GPIO_PIN_8) == GPIO_PIN_RESET){
				while(HAL_GPIO_ReadPin(GPIOA, GPIO_PIN_8) == GPIO_PIN_RESET);
				SwitchMode = 1;
				WRITE_FLASH(0x0807FFF5, SwitchMode);
			}
		  break;
		  case(4):
			SSD1306_GotoXY(90, 20);
			SSD1306_Puts("Rapid", &Font_7x10, SSD1306_COLOR_BLACK);
			if(HAL_GPIO_ReadPin(GPIOA, GPIO_PIN_8) == GPIO_PIN_RESET){
				while(HAL_GPIO_ReadPin(GPIOA, GPIO_PIN_8) == GPIO_PIN_RESET);
				SwitchMode = 0;
				WRITE_FLASH(0x0807FFF5, SwitchMode);
			}
		  break;
		}
	}
/*
 * Main Screen Data
*/
	else{
/*
 * Lock keys indication
*/
		uint8_t *getData = USBD_HID_GetData();
		if((getData[0] & (uint8_t)(1<<L_NUMLOCK)) == (1<<L_NUMLOCK)){
			SSD1306_GotoXY(0, 0);
			SSD1306_Puts("Num-ON", &Font_7x10, SSD1306_COLOR_WHITE);
		}
		else{
			SSD1306_GotoXY(0, 0);
			SSD1306_Puts("Num-OFF", &Font_7x10, SSD1306_COLOR_WHITE);
		}
		if((getData[0] & (uint8_t)(1<<L_CAPSLOCK)) == (1<<L_CAPSLOCK)){
			SSD1306_GotoXY(64, 0);
			SSD1306_Puts("Caps-ON", &Font_7x10, SSD1306_COLOR_WHITE);
		}
		else{
			SSD1306_GotoXY(64, 0);
			SSD1306_Puts("Caps-OFF", &Font_7x10, SSD1306_COLOR_WHITE);
		}
/*
 * Volume Up/Down
*/
		if(EncRotRig == 1){
			MediaReport[0] = 0x02;// Report Custom Media ID
			MediaReport[1] = 0x04;//40;//81;
		}
		if(EncRotLft == 1){
			MediaReport[0] = 0x02;
			MediaReport[1] = 0x08;//80;
		}
/*
* Brightness Increment/Decrement (Only for main selected screen)
*/
		if(FnBtnState == 1 && EncRotRig == 1){
			MediaReport[0] = 0x02;
			MediaReport[1] = 0x01;//E9;
		}
		if(FnBtnState == 1 && EncRotLft == 1){
			MediaReport[0] = 0x02;
			MediaReport[1] = 0x02;//EA;
		}
	}

/*
 * Send Media Report
*/
	HAL_Delay(USBD_HID_GetPollingInterval());									// Wait some interval to avoid reports overlapping
	USBD_HID_SendReport(&hUsbDeviceFS, &MediaReport, 2);						// Send report
	MediaReport[1] = 0x00;														// Clear Media Report

    FnBtnState = 0;																// Reset Fn state

	SSD1306_UpdateScreen();														// Show data
	SSD1306_Fill(SSD1306_COLOR_BLACK);											// Clear display for next info

/*
 * ARGB handling
*/
	ARGB_SetBrightness(LedBrightness);
	if(ArgbMode == 1){
		// Solid color
		ARGB_FillRGB(Red, Green, Blue);
	}
	else if(ArgbMode == 0){
		// Some LGTVCOMMUNITY effect
		//In progress
	}
	ARGB_Show();
    /* USER CODE END WHILE */

  }
}

void SystemClock_Config(void)
{
  RCC_OscInitTypeDef RCC_OscInitStruct = {0};
  RCC_ClkInitTypeDef RCC_ClkInitStruct = {0};

  /** Configure the main internal regulator output voltage
  */
  __HAL_RCC_PWR_CLK_ENABLE();
  __HAL_PWR_VOLTAGESCALING_CONFIG(PWR_REGULATOR_VOLTAGE_SCALE1);

  /** Initializes the RCC Oscillators according to the specified parameters
  * in the RCC_OscInitTypeDef structure.
  */
  RCC_OscInitStruct.OscillatorType = RCC_OSCILLATORTYPE_HSE;
  RCC_OscInitStruct.HSEState = RCC_HSE_ON;
  RCC_OscInitStruct.PLL.PLLState = RCC_PLL_ON;
  RCC_OscInitStruct.PLL.PLLSource = RCC_PLLSOURCE_HSE;
  RCC_OscInitStruct.PLL.PLLM = 25;
  RCC_OscInitStruct.PLL.PLLN = 192;
  RCC_OscInitStruct.PLL.PLLP = RCC_PLLP_DIV2;
  RCC_OscInitStruct.PLL.PLLQ = 4;
  if (HAL_RCC_OscConfig(&RCC_OscInitStruct) != HAL_OK)
  {
    Error_Handler();
  }

  /** Initializes the CPU, AHB and APB buses clocks
  */
  RCC_ClkInitStruct.ClockType = RCC_CLOCKTYPE_HCLK|RCC_CLOCKTYPE_SYSCLK
                              |RCC_CLOCKTYPE_PCLK1|RCC_CLOCKTYPE_PCLK2;
  RCC_ClkInitStruct.SYSCLKSource = RCC_SYSCLKSOURCE_PLLCLK;
  RCC_ClkInitStruct.AHBCLKDivider = RCC_SYSCLK_DIV1;
  RCC_ClkInitStruct.APB1CLKDivider = RCC_HCLK_DIV2;
  RCC_ClkInitStruct.APB2CLKDivider = RCC_HCLK_DIV1;

  if (HAL_RCC_ClockConfig(&RCC_ClkInitStruct, FLASH_LATENCY_3) != HAL_OK)
  {
    Error_Handler();
  }
}

static void MX_ADC1_Init(void)
{

  ADC_ChannelConfTypeDef sConfig = {0};

  /** Configure the global features of the ADC (Clock, Resolution, Data Alignment and number of conversion)
  */
  hadc1.Instance = ADC1;
  hadc1.Init.ClockPrescaler = ADC_CLOCK_SYNC_PCLK_DIV4;
  hadc1.Init.Resolution = ADC_RESOLUTION_12B;
  hadc1.Init.ScanConvMode = ENABLE;
  hadc1.Init.ContinuousConvMode = ENABLE;
  hadc1.Init.DiscontinuousConvMode = DISABLE;
  hadc1.Init.ExternalTrigConvEdge = ADC_EXTERNALTRIGCONVEDGE_NONE;
  hadc1.Init.ExternalTrigConv = ADC_SOFTWARE_START;
  hadc1.Init.DataAlign = ADC_DATAALIGN_RIGHT;
  hadc1.Init.NbrOfConversion = 1;
  hadc1.Init.DMAContinuousRequests = DISABLE;
  hadc1.Init.EOCSelection = ADC_EOC_SINGLE_CONV;
  if (HAL_ADC_Init(&hadc1) != HAL_OK)
  {
    Error_Handler();
  }

  /** Configure for the selected ADC regular channel its corresponding rank in the sequencer and its sample time.
  */
/*  sConfig.Channel = ADC_CHANNEL_0;
  sConfig.Rank = 1;
  sConfig.SamplingTime = ADC_SAMPLETIME_3CYCLES;
  if (HAL_ADC_ConfigChannel(&hadc1, &sConfig) != HAL_OK)
  {
    Error_Handler();
  }*/

}

static void MX_I2C1_Init(void)
{

  hi2c1.Instance = I2C1;
  hi2c1.Init.ClockSpeed = 400000;
  hi2c1.Init.DutyCycle = I2C_DUTYCYCLE_2;
  hi2c1.Init.OwnAddress1 = 0;
  hi2c1.Init.AddressingMode = I2C_ADDRESSINGMODE_7BIT;
  hi2c1.Init.DualAddressMode = I2C_DUALADDRESS_DISABLE;
  hi2c1.Init.OwnAddress2 = 0;
  hi2c1.Init.GeneralCallMode = I2C_GENERALCALL_DISABLE;
  hi2c1.Init.NoStretchMode = I2C_NOSTRETCH_DISABLE;
  if (HAL_I2C_Init(&hi2c1) != HAL_OK)
  {
    Error_Handler();
  }

}

static void MX_TIM1_Init(void)
{

  TIM_ClockConfigTypeDef sClockSourceConfig = {0};
  TIM_MasterConfigTypeDef sMasterConfig = {0};
  TIM_OC_InitTypeDef sConfigOC = {0};
  TIM_BreakDeadTimeConfigTypeDef sBreakDeadTimeConfig = {0};

  htim1.Instance = TIM1;
  htim1.Init.Prescaler = 0;
  htim1.Init.CounterMode = TIM_COUNTERMODE_UP;
  htim1.Init.Period = 90-1;
  htim1.Init.ClockDivision = TIM_CLOCKDIVISION_DIV1;
  htim1.Init.RepetitionCounter = 0;
  htim1.Init.AutoReloadPreload = TIM_AUTORELOAD_PRELOAD_DISABLE;
  if (HAL_TIM_Base_Init(&htim1) != HAL_OK)
  {
    Error_Handler();
  }
  sClockSourceConfig.ClockSource = TIM_CLOCKSOURCE_INTERNAL;
  if (HAL_TIM_ConfigClockSource(&htim1, &sClockSourceConfig) != HAL_OK)
  {
    Error_Handler();
  }
  if (HAL_TIM_PWM_Init(&htim1) != HAL_OK)
  {
    Error_Handler();
  }
  sMasterConfig.MasterOutputTrigger = TIM_TRGO_RESET;
  sMasterConfig.MasterSlaveMode = TIM_MASTERSLAVEMODE_DISABLE;
  if (HAL_TIMEx_MasterConfigSynchronization(&htim1, &sMasterConfig) != HAL_OK)
  {
    Error_Handler();
  }
  sConfigOC.OCMode = TIM_OCMODE_PWM1;
  sConfigOC.Pulse = 0;
  sConfigOC.OCPolarity = TIM_OCPOLARITY_HIGH;
  sConfigOC.OCNPolarity = TIM_OCNPOLARITY_HIGH;
  sConfigOC.OCFastMode = TIM_OCFAST_DISABLE;
  sConfigOC.OCIdleState = TIM_OCIDLESTATE_RESET;
  sConfigOC.OCNIdleState = TIM_OCNIDLESTATE_RESET;
  if (HAL_TIM_PWM_ConfigChannel(&htim1, &sConfigOC, TIM_CHANNEL_2) != HAL_OK)
  {
    Error_Handler();
  }
  sBreakDeadTimeConfig.OffStateRunMode = TIM_OSSR_DISABLE;
  sBreakDeadTimeConfig.OffStateIDLEMode = TIM_OSSI_DISABLE;
  sBreakDeadTimeConfig.LockLevel = TIM_LOCKLEVEL_OFF;
  sBreakDeadTimeConfig.DeadTime = 0;
  sBreakDeadTimeConfig.BreakState = TIM_BREAK_DISABLE;
  sBreakDeadTimeConfig.BreakPolarity = TIM_BREAKPOLARITY_HIGH;
  sBreakDeadTimeConfig.AutomaticOutput = TIM_AUTOMATICOUTPUT_DISABLE;
  if (HAL_TIMEx_ConfigBreakDeadTime(&htim1, &sBreakDeadTimeConfig) != HAL_OK)
  {
    Error_Handler();
  }
  HAL_TIM_MspPostInit(&htim1);

}

static void MX_TIM3_Init(void)
{

  TIM_Encoder_InitTypeDef sConfig = {0};
  TIM_MasterConfigTypeDef sMasterConfig = {0};

  htim3.Instance = TIM3;
  htim3.Init.Prescaler = 0;
  htim3.Init.CounterMode = TIM_COUNTERMODE_UP;
  htim3.Init.Period = 65535;
  htim3.Init.ClockDivision = TIM_CLOCKDIVISION_DIV1;
  htim3.Init.AutoReloadPreload = TIM_AUTORELOAD_PRELOAD_DISABLE;
  sConfig.EncoderMode = TIM_ENCODERMODE_TI12;
  sConfig.IC1Polarity = TIM_ICPOLARITY_FALLING;
  sConfig.IC1Selection = TIM_ICSELECTION_DIRECTTI;
  sConfig.IC1Prescaler = TIM_ICPSC_DIV1;
  sConfig.IC1Filter = 5;
  sConfig.IC2Polarity = TIM_ICPOLARITY_FALLING;
  sConfig.IC2Selection = TIM_ICSELECTION_DIRECTTI;
  sConfig.IC2Prescaler = TIM_ICPSC_DIV1;
  sConfig.IC2Filter = 5;
  if (HAL_TIM_Encoder_Init(&htim3, &sConfig) != HAL_OK)
  {
    Error_Handler();
  }
  sMasterConfig.MasterOutputTrigger = TIM_TRGO_RESET;
  sMasterConfig.MasterSlaveMode = TIM_MASTERSLAVEMODE_DISABLE;
  if (HAL_TIMEx_MasterConfigSynchronization(&htim3, &sMasterConfig) != HAL_OK)
  {
    Error_Handler();
  }

}

static void MX_DMA_Init(void)
{

  /* DMA controller clock enable */
  __HAL_RCC_DMA1_CLK_ENABLE();
  __HAL_RCC_DMA2_CLK_ENABLE();

  /* DMA interrupt init */
  /* DMA1_Stream6_IRQn interrupt configuration */
  HAL_NVIC_SetPriority(DMA1_Stream6_IRQn, 0, 0);
  HAL_NVIC_EnableIRQ(DMA1_Stream6_IRQn);
  /* DMA2_Stream2_IRQn interrupt configuration */
  HAL_NVIC_SetPriority(DMA2_Stream2_IRQn, 0, 0);
  HAL_NVIC_EnableIRQ(DMA2_Stream2_IRQn);
  /* DMA2_Stream4_IRQn interrupt configuration */
  HAL_NVIC_SetPriority(DMA2_Stream4_IRQn, 0, 0);
  HAL_NVIC_EnableIRQ(DMA2_Stream4_IRQn);

}

static void MX_GPIO_Init(void)
{
  GPIO_InitTypeDef GPIO_InitStruct = {0};

  /* GPIO Ports Clock Enable */
  __HAL_RCC_GPIOH_CLK_ENABLE();
  __HAL_RCC_GPIOA_CLK_ENABLE();
  __HAL_RCC_GPIOB_CLK_ENABLE();

  /*Configure GPIO pin Output Level */
  HAL_GPIO_WritePin(GPIOB, SELECT3_Pin|SELECT2_Pin|SELECT1_Pin|SELECT0_Pin, GPIO_PIN_RESET);

  /*Configure GPIO pins : SELECT3_Pin SELECT2_Pin SELECT1_Pin SELECT0_Pin */
  GPIO_InitStruct.Pin = SELECT3_Pin|SELECT2_Pin|SELECT1_Pin|SELECT0_Pin;
  GPIO_InitStruct.Mode = GPIO_MODE_OUTPUT_PP;
  GPIO_InitStruct.Pull = GPIO_NOPULL;
  GPIO_InitStruct.Speed = GPIO_SPEED_FREQ_LOW;
  HAL_GPIO_Init(GPIOB, &GPIO_InitStruct);

  /*Configure GPIO pin : ENC_SW_Pin */
  GPIO_InitStruct.Pin = ENC_SW_Pin;
  GPIO_InitStruct.Mode = GPIO_MODE_INPUT;
  GPIO_InitStruct.Pull = GPIO_PULLDOWN;
  HAL_GPIO_Init(ENC_SW_GPIO_Port, &GPIO_InitStruct);

}

void Error_Handler(void)
{
  __disable_irq();
  while (1)
  {
  }
}
